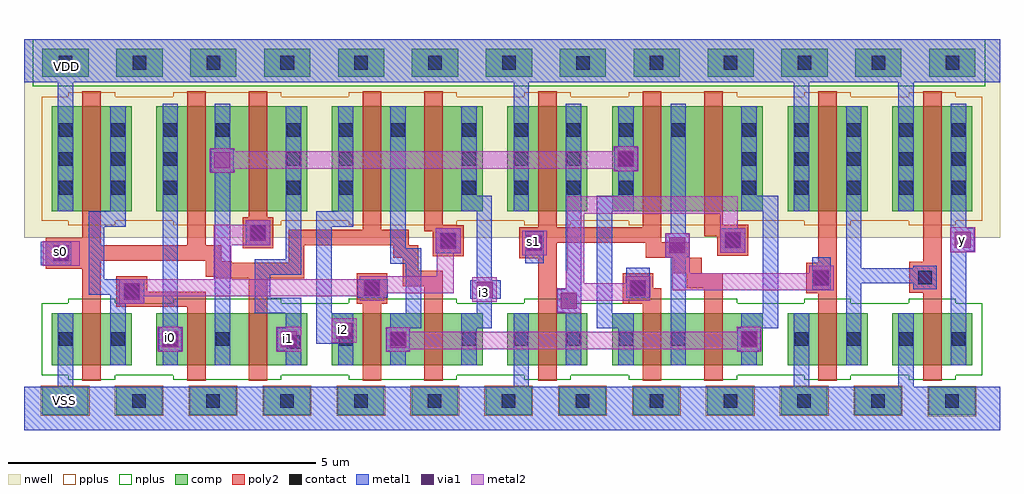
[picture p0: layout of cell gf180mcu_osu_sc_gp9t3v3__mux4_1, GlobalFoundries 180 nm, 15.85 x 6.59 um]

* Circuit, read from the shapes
.subckt gf180mcu_osu_sc_gp9t3v3__mux4_1 VDD VSS i0 i1 i2 i3 s0 s1 y
XM1 n1 s0 VSS VSS nfet_03v3 w=0.85u l=0.3u
XM2 n2 n1 i0 VSS nfet_03v3 w=0.85u l=0.3u
XM3 i1 s0 n2 VSS nfet_03v3 w=0.85u l=0.3u
XM4 n3 n1 i2 VSS nfet_03v3 w=0.85u l=0.3u
XM5 i3 s0 n3 VSS nfet_03v3 w=0.85u l=0.3u
XM6 n4 s1 VSS VSS nfet_03v3 w=0.85u l=0.3u
XM7 n5 n4 n2 VSS nfet_03v3 w=0.85u l=0.3u
XM8 n3 s1 n5 VSS nfet_03v3 w=0.85u l=0.3u
XM9 n6 n5 VSS VSS nfet_03v3 w=0.85u l=0.3u
XM10 y n6 VSS VSS nfet_03v3 w=0.85u l=0.3u
XM11 n1 s0 VDD VDD pfet_03v3 w=1.7u l=0.3u
XM12 n2 s0 i0 VDD pfet_03v3 w=1.7u l=0.3u
XM13 i1 n1 n2 VDD pfet_03v3 w=1.7u l=0.3u
XM14 n3 s0 i2 VDD pfet_03v3 w=1.7u l=0.3u
XM15 i3 n1 n3 VDD pfet_03v3 w=1.7u l=0.3u
XM16 n4 s1 VDD VDD pfet_03v3 w=1.7u l=0.3u
XM17 n5 s1 n2 VDD pfet_03v3 w=1.7u l=0.3u
XM18 n3 n4 n5 VDD pfet_03v3 w=1.7u l=0.3u
XM19 n6 n5 VDD VDD pfet_03v3 w=1.7u l=0.3u
XM20 y n6 VDD VDD pfet_03v3 w=1.7u l=0.3u
.ends

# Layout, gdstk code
import gdstk
lib = gdstk.Library(unit=1e-6, precision=1e-09)
def R(c, l, rs):  # rectangles x0, y0, x1, y1
    for r in rs: c.add(gdstk.rectangle(r[:2], r[2:], *l))
def A(c, l, x, y, w, h, nx, ny, dx, dy):  # array of equal rectangles
    R(c, l, [(x+i*dx, y+j*dy, x+i*dx+w, y+j*dy+h) for i in range(nx) for j in range(ny)])
def P(c, l, *ps):  # polygons
    for p in ps: c.add(gdstk.Polygon(p, *l))
nwell = (21, 0)
comp = (22, 0)
poly2 = (30, 0)
pplus = (31, 0)
nplus = (32, 0)
contact = (33, 0)
metal1 = (34, 0)
via1 = (35, 0)
metal2 = (36, 0)

gf180mcu_osu_sc_gp9t3v3_ = lib.new_cell('gf180mcu_osu_sc_gp9t3v3__mux4_1')
R(gf180mcu_osu_sc_gp9t3v3_, nwell, [(-40.3,-1.235,-24.45,1.995)])
A(gf180mcu_osu_sc_gp9t3v3_, comp, -32.8, 1.385, 0.75, 0.45, 3, 1, 1.2, 0)
R(gf180mcu_osu_sc_gp9t3v3_, comp, [(-25.605,-4.11,-24.855,-3.66), (-25.605,-4.11,-24.855,-3.66), (-25.605,-4.11,-24.855,-3.66), (-25.605,-4.11,-24.855,-3.66), (-25.605,-4.11,-24.855,-3.66), (-40.005,-4.105,-39.255,-3.655), (-40.005,-4.105,-39.255,-3.655), (-38.805,-4.105,-38.055,-3.655), (-38.805,-4.105,-38.055,-3.655), (-37.605,-4.105,-36.855,-3.655), (-37.605,-4.105,-36.855,-3.655), (-37.605,-4.105,-36.855,-3.655), (-37.605,-4.105,-36.855,-3.655), (-36.405,-4.105,-35.655,-3.655), (-36.405,-4.105,-35.655,-3.655), (-36.405,-4.105,-35.655,-3.655), (-36.405,-4.105,-35.655,-3.655), (-35.205,-4.105,-34.455,-3.655), (-35.205,-4.105,-34.455,-3.655), (-35.205,-4.105,-34.455,-3.655), (-35.205,-4.105,-34.455,-3.655), (-34.005,-4.105,-33.255,-3.655), (-34.005,-4.105,-33.255,-3.655), (-34.005,-4.105,-33.255,-3.655), (-34.005,-4.105,-33.255,-3.655), (-32.805,-4.105,-32.055,-3.655), (-32.805,-4.105,-32.055,-3.655), (-32.805,-4.105,-32.055,-3.655), (-32.805,-4.105,-32.055,-3.655), (-31.605,-4.105,-30.855,-3.655), (-31.605,-4.105,-30.855,-3.655), (-31.605,-4.105,-30.855,-3.655), (-31.605,-4.105,-30.855,-3.655), (-31.605,-4.105,-30.855,-3.655), (-30.405,-4.105,-29.655,-3.655), (-30.405,-4.105,-29.655,-3.655), (-30.405,-4.105,-29.655,-3.655), (-30.405,-4.105,-29.655,-3.655), (-30.405,-4.105,-29.655,-3.655), (-29.205,-4.105,-28.455,-3.655), (-29.205,-4.105,-28.455,-3.655), (-29.205,-4.105,-28.455,-3.655), (-29.205,-4.105,-28.455,-3.655), (-29.205,-4.105,-28.455,-3.655), (-28.005,-4.105,-27.255,-3.655), (-28.005,-4.105,-27.255,-3.655), (-28.005,-4.105,-27.255,-3.655), (-28.005,-4.105,-27.255,-3.655), (-28.005,-4.105,-27.255,-3.655), (-26.805,-4.105,-26.055,-3.655), (-26.805,-4.105,-26.055,-3.655), (-26.805,-4.105,-26.055,-3.655), (-26.805,-4.105,-26.055,-3.655), (-26.805,-4.105,-26.055,-3.655), (-39.85,-3.305,-38.55,-2.455), (-38.15,-3.305,-35.7,-2.455), (-35.3,-3.305,-32.85,-2.455), (-32.45,-3.305,-31.15,-2.455), (-30.75,-3.305,-28.3,-2.455), (-27.9,-3.305,-26.6,-2.455), (-26.2,-3.305,-24.9,-2.455), (-39.85,-0.8,-38.55,0.9), (-38.15,-0.8,-35.7,0.9), (-35.3,-0.8,-32.85,0.9), (-32.45,-0.8,-31.15,0.9), (-30.75,-0.8,-28.3,0.9), (-27.9,-0.8,-26.6,0.9), (-26.2,-0.8,-24.9,0.9), (-40,1.385,-39.25,1.835), (-38.8,1.385,-38.05,1.835), (-38.8,1.385,-38.05,1.835), (-37.6,1.385,-36.85,1.835), (-37.6,1.385,-36.85,1.835), (-36.4,1.385,-35.65,1.835), (-36.4,1.385,-35.65,1.835), (-35.2,1.385,-34.45,1.835), (-35.2,1.385,-34.45,1.835), (-34,1.385,-33.25,1.835), (-34,1.385,-33.25,1.835), (-32.8,1.385,-32.05,1.835), (-30.4,1.385,-29.65,1.835), (-29.2,1.385,-28.45,1.835), (-29.2,1.385,-28.45,1.835), (-28,1.385,-27.25,1.835), (-28,1.385,-27.25,1.835), (-26.8,1.385,-26.05,1.835), (-26.8,1.385,-26.05,1.835), (-25.6,1.385,-24.85,1.835), (-25.6,1.385,-24.85,1.835)])
A(gf180mcu_osu_sc_gp9t3v3_, poly2, -38.4, -2.355, 0.25, 0.25, 3, 1, 0.25, 0)
A(gf180mcu_osu_sc_gp9t3v3_, poly2, -36.855, -1.89, 0.25, 0.25, 4, 1, 0.25, 0)
A(gf180mcu_osu_sc_gp9t3v3_, poly2, -36, -1.355, 0.25, 0.25, 7, 1, 0.25, 0)
A(gf180mcu_osu_sc_gp9t3v3_, poly2, -31.65, -1.315, 0.25, 0.25, 6, 1, 0.25, 0)
R(gf180mcu_osu_sc_gp9t3v3_, poly2, [(-39.35,-3.555,-39.05,1.149), (-37.65,-3.555,-37.35,-2.105), (-36.65,-3.555,-36.35,-1.68), (-34.8,-3.555,-34.5,-2.105), (-33.8,-3.555,-33.5,-2.105), (-31.95,-3.555,-31.65,1.149), (-30.25,-3.555,-29.95,-2.105), (-29.25,-3.555,-28.95,-2.105), (-27.4,-3.555,-27.1,-3.535), (-25.7,-3.555,-25.4,-3.535), (-27.4,-3.554,-27.1,1.15), (-25.7,-3.554,-25.4,1.15), (-33.8,-3.055,-33.5,-1.77), (-38.8,-2.355,-38.3,-1.855), (-34.9,-2.305,-34.4,-1.805), (-34.9,-2.305,-34.4,-1.805), (-30.58,-2.305,-30.08,-1.805), (-30.2,-2.305,-29.95,-2.055), (-29.25,-2.145,-29,-1.895), (-29.2,-2.14,-28.95,-1.89), (-27.6,-2.135,-27.1,-1.635), (-25.92,-2.125,-25.42,-1.625), (-29.54,-2.055,-29.29,-1.805), (-29.29,-2.055,-29.04,-1.805), (-29.2,-2.055,-28.95,-1.805), (-34.15,-2.02,-33.9,-1.77), (-33.96,-2.02,-33.71,-1.77), (-37.18,-1.89,-36.93,-1.64), (-37.1,-1.89,-36.85,-1.64), (-36,-1.89,-35.75,-1.64), (-37.35,-1.865,-37.1,-1.615), (-37.18,-1.865,-36.93,-1.615), (-37.35,-1.855,-37.1,-1.605), (-34.15,-1.855,-33.9,-1.605), (-34.15,-1.855,-33.9,-1.605), (-36,-1.85,-35.75,-1.6), (-29.75,-1.805,-29.5,-1.555), (-29.54,-1.805,-29.29,-1.555), (-39.945,-1.735,-39.445,-1.235), (-39.75,-1.735,-39.25,-1.235), (-39.05,-1.605,-37.35,-1.355), (-37.35,-1.605,-37.1,-1.355), (-36,-1.605,-35.75,-1.355), (-34.15,-1.605,-33.9,-1.355), (-32.26,-1.565,-31.76,-1.065), (-34.3,-1.555,-34.05,-1.305), (-30.2,-1.555,-29.95,-1.305), (-30.075,-1.555,-29.825,-1.305), (-29.85,-1.555,-29.6,-1.305), (-29.75,-1.555,-29.5,-1.305), (-30.2,-1.54,-29.95,-1.29), (-33.66,-1.53,-33.16,-1.03), (-33.66,-1.53,-33.16,-1.03), (-33.66,-1.53,-33.16,-1.03), (-29.04,-1.525,-28.54,-1.025), (-29.04,-1.525,-28.54,-1.025), (-29.04,-1.525,-28.54,-1.025), (-37.65,-1.4,-37.35,1.15), (-36.75,-1.4,-36.25,-0.9), (-36.75,-1.4,-36.25,-0.9), (-34.3,-1.355,-34.05,-1.105), (-30.2,-1.315,-29.95,-1.065), (-30.2,-1.23,-29.95,-0.98), (-30.25,-1.225,-30,-0.975), (-29.25,-1.21,-29,-0.96), (-34.8,-1.175,-34.55,-0.925), (-34.75,-1.17,-34.5,-0.92), (-33.8,-1.125,-33.55,-0.875), (-33.8,-1.105,-33.55,-0.855), (-33.75,-1.105,-33.5,-0.855), (-33.75,-1.105,-33.5,-0.855), (-29.25,-1.105,-29,-0.855), (-29.2,-1.105,-28.95,-0.855), (-34.8,-1.05,-34.5,1.15), (-30.25,-1.05,-29.95,1.15), (-36.65,-0.9,-36.35,1.15), (-33.8,-0.9,-33.5,1.15), (-29.25,-0.9,-28.95,1.15), (-39.35,1.13,-39.05,1.15), (-31.95,1.13,-31.65,1.15)])
A(gf180mcu_osu_sc_gp9t3v3_, pplus, -40.025, -4.125, 0.79, 0.49, 12, 1, 1.2, 0)
R(gf180mcu_osu_sc_gp9t3v3_, pplus, [(-25.625,-4.13,-24.835,-3.64), (-39.58,-1.03,-38.82,-0.96), (-39.05,-1.03,-38.82,-0.96), (-37.88,-1.03,-37.65,-0.96), (-37.65,-1.03,-37.42,-0.96), (-37.605,-1.03,-36.845,-0.96), (-36.88,-1.03,-36.12,-0.96), (-36.35,-1.03,-36.12,-0.96), (-35.03,-1.03,-34.8,-0.96), (-34.8,-1.03,-34.57,-0.96), (-34.8,-1.03,-34.57,-0.96), (-34.755,-1.03,-33.995,-0.96), (-34.57,-1.03,-34.34,-0.96), (-34.525,-1.03,-33.765,-0.96), (-34.03,-1.03,-33.27,-0.96), (-34.03,-1.03,-33.27,-0.96), (-34.03,-1.03,-33.27,-0.96), (-32.18,-1.03,-31.42,-0.96), (-31.65,-1.03,-31.42,-0.96), (-30.48,-1.03,-30.25,-0.96), (-30.25,-1.03,-30.02,-0.96), (-30.205,-1.03,-29.445,-0.96), (-29.48,-1.03,-28.72,-0.96), (-27.63,-1.03,-26.87,-0.96), (-27.1,-1.03,-26.87,-0.96), (-25.93,-1.03,-25.17,-0.96), (-25.4,-1.03,-25.17,-0.96), (-40.01,-0.96,-24.74,1.06), (-40.01,0.9,-39.85,1.06), (-39.58,1.06,-38.82,1.13), (-39.05,1.06,-38.82,1.13), (-37.88,1.06,-37.65,1.13), (-37.65,1.06,-37.42,1.13), (-37.65,1.06,-37.42,1.13), (-37.605,1.06,-36.845,1.13), (-37.42,1.06,-37.19,1.13), (-37.375,1.06,-36.615,1.13), (-36.88,1.06,-36.12,1.13), (-36.88,1.06,-36.12,1.13), (-36.88,1.06,-36.12,1.13), (-36.35,1.06,-36.12,1.13), (-36.35,1.06,-36.12,1.13), (-36.35,1.06,-36.12,1.13), (-35.03,1.06,-34.8,1.13), (-34.8,1.06,-34.57,1.13), (-34.755,1.06,-33.995,1.13), (-34.03,1.06,-33.27,1.13), (-34.03,1.06,-33.27,1.13), (-33.5,1.06,-33.27,1.13), (-33.5,1.06,-33.27,1.13), (-32.18,1.06,-31.42,1.13), (-31.65,1.06,-31.42,1.13), (-30.48,1.06,-30.25,1.13), (-30.25,1.06,-30.02,1.13), (-30.205,1.06,-29.445,1.13), (-29.48,1.06,-28.72,1.13), (-28.95,1.06,-28.72,1.13), (-27.63,1.06,-26.87,1.13), (-27.1,1.06,-26.87,1.13), (-25.93,1.06,-25.17,1.13), (-25.4,1.06,-25.17,1.13)])
R(gf180mcu_osu_sc_gp9t3v3_, nplus, [(-39.58,-3.535,-39.35,-3.325), (-39.365,-3.535,-39.135,-3.325), (-39.28,-3.535,-39.05,-3.325), (-39.05,-3.535,-38.82,-3.325), (-37.88,-3.535,-37.65,-3.325), (-37.665,-3.535,-37.435,-3.325), (-37.58,-3.535,-37.35,-3.325), (-37.355,-3.535,-37.125,-3.325), (-37.35,-3.535,-37.12,-3.325), (-37.14,-3.535,-36.91,-3.325), (-37.055,-3.535,-36.825,-3.325), (-36.88,-3.535,-36.65,-3.325), (-36.825,-3.535,-36.595,-3.325), (-36.665,-3.535,-36.435,-3.325), (-36.58,-3.535,-36.35,-3.325), (-36.35,-3.535,-36.12,-3.325), (-35.03,-3.535,-34.8,-3.325), (-34.815,-3.535,-34.585,-3.325), (-34.73,-3.535,-34.5,-3.325), (-34.5,-3.535,-34.27,-3.325), (-34.47,-3.535,-34.24,-3.325), (-34.255,-3.535,-34.025,-3.325), (-34.17,-3.535,-33.94,-3.325), (-34.03,-3.535,-33.8,-3.325), (-33.94,-3.535,-33.71,-3.325), (-33.815,-3.535,-33.585,-3.325), (-33.73,-3.535,-33.5,-3.325), (-33.5,-3.535,-33.27,-3.325), (-32.18,-3.535,-31.95,-3.325), (-31.965,-3.535,-31.735,-3.325), (-31.88,-3.535,-31.65,-3.325), (-31.65,-3.535,-31.42,-3.325), (-30.48,-3.535,-30.25,-3.325), (-30.265,-3.535,-30.035,-3.325), (-30.18,-3.535,-29.95,-3.325), (-29.95,-3.535,-29.72,-3.325), (-29.875,-3.535,-29.645,-3.325), (-29.66,-3.535,-29.43,-3.325), (-29.575,-3.535,-29.345,-3.325), (-29.48,-3.535,-29.25,-3.325), (-29.345,-3.535,-29.115,-3.325), (-29.265,-3.535,-29.035,-3.325), (-29.18,-3.535,-28.95,-3.325), (-28.95,-3.535,-28.72,-3.325), (-27.63,-3.535,-27.4,-3.325), (-27.415,-3.535,-27.185,-3.325), (-27.33,-3.535,-27.1,-3.325), (-27.1,-3.535,-26.87,-3.325), (-25.93,-3.535,-25.7,-3.325), (-25.715,-3.535,-25.485,-3.325), (-25.63,-3.535,-25.4,-3.325), (-25.4,-3.535,-25.17,-3.325), (-40.01,-3.465,-24.74,-2.295), (-39.58,-2.435,-39.35,-2.225), (-39.365,-2.435,-39.135,-2.225), (-39.28,-2.435,-39.05,-2.225), (-39.05,-2.435,-38.82,-2.225), (-37.88,-2.435,-37.65,-2.225), (-37.88,-2.435,-37.65,-2.225), (-37.665,-2.435,-37.435,-2.225), (-37.665,-2.435,-37.435,-2.225), (-37.58,-2.435,-37.35,-2.225), (-37.58,-2.435,-37.35,-2.225), (-37.355,-2.435,-37.125,-2.225), (-37.35,-2.435,-37.12,-2.225), (-37.35,-2.435,-37.12,-2.225), (-37.14,-2.435,-36.91,-2.225), (-37.055,-2.435,-36.825,-2.225), (-36.88,-2.435,-36.65,-2.225), (-36.88,-2.435,-36.65,-2.225), (-36.825,-2.435,-36.595,-2.225), (-36.665,-2.435,-36.435,-2.225), (-36.665,-2.435,-36.435,-2.225), (-36.58,-2.435,-36.35,-2.225), (-36.58,-2.435,-36.35,-2.225), (-36.35,-2.435,-36.12,-2.225), (-36.35,-2.435,-36.12,-2.225), (-35.03,-2.435,-34.8,-2.225), (-34.815,-2.435,-34.585,-2.225), (-34.73,-2.435,-34.5,-2.225), (-34.585,-2.435,-34.355,-2.225), (-34.5,-2.435,-34.27,-2.225), (-34.37,-2.435,-34.14,-2.225), (-34.285,-2.435,-34.055,-2.225), (-34.055,-2.435,-33.825,-2.225), (-34.03,-2.435,-33.8,-2.225), (-33.815,-2.435,-33.585,-2.225), (-33.73,-2.435,-33.5,-2.225), (-33.5,-2.435,-33.27,-2.225), (-32.18,-2.435,-31.95,-2.225), (-31.965,-2.435,-31.735,-2.225), (-31.88,-2.435,-31.65,-2.225), (-31.65,-2.435,-31.42,-2.225), (-30.48,-2.435,-30.25,-2.225), (-30.265,-2.435,-30.035,-2.225), (-30.18,-2.435,-29.95,-2.225), (-30.04,-2.435,-29.81,-2.225), (-29.95,-2.435,-29.72,-2.225), (-29.825,-2.435,-29.595,-2.225), (-29.74,-2.435,-29.51,-2.225), (-29.51,-2.435,-29.28,-2.225), (-29.48,-2.435,-29.25,-2.225), (-29.265,-2.435,-29.035,-2.225), (-29.18,-2.435,-28.95,-2.225), (-28.95,-2.435,-28.72,-2.225), (-27.63,-2.435,-27.4,-2.225), (-27.415,-2.435,-27.185,-2.225), (-27.33,-2.435,-27.1,-2.225), (-27.1,-2.435,-26.87,-2.225), (-25.93,-2.435,-25.7,-2.225), (-25.715,-2.435,-25.485,-2.225), (-25.63,-2.435,-25.4,-2.225), (-25.4,-2.435,-25.17,-2.225), (-40.16,1.225,-24.69,1.995)])
A(gf180mcu_osu_sc_gp9t3v3_, contact, -39.74, -3.99, 0.22, 0.22, 12, 1, 1.2, 0)
A(gf180mcu_osu_sc_gp9t3v3_, contact, -39.735, -2.99, 0.22, 0.22, 4, 2, 0.85, 3.4)
A(gf180mcu_osu_sc_gp9t3v3_, contact, -33.185, -2.99, 0.22, 0.22, 5, 2, 0.85, 3.4)
A(gf180mcu_osu_sc_gp9t3v3_, contact, -28.635, -2.99, 0.22, 0.22, 5, 2, 0.85, 2.46)
A(gf180mcu_osu_sc_gp9t3v3_, contact, -39.735, -0.53, 0.22, 0.22, 3, 2, 0.85, 0.47)
A(gf180mcu_osu_sc_gp9t3v3_, contact, -33.185, -0.53, 0.22, 0.22, 4, 2, 0.85, 0.47)
A(gf180mcu_osu_sc_gp9t3v3_, contact, -28.635, -0.06, 0.22, 0.22, 5, 2, 0.85, 0.47)
A(gf180mcu_osu_sc_gp9t3v3_, contact, -36.035, 0.41, 0.22, 0.22, 3, 1, 0.85, 0)
R(gf180mcu_osu_sc_gp9t3v3_, contact, [(-25.34,-3.995,-25.12,-3.775), (-36.035,-3.035,-35.815,-2.815), (-35.185,-2.99,-34.965,-2.77), (-34.335,-2.99,-34.115,-2.77), (-34.335,-2.99,-34.115,-2.77), (-38.66,-2.215,-38.44,-1.995), (-34.76,-2.165,-34.54,-1.945), (-34.76,-2.165,-34.54,-1.945), (-30.44,-2.165,-30.22,-1.945), (-27.46,-1.995,-27.24,-1.775), (-25.78,-1.985,-25.56,-1.765), (-39.805,-1.595,-39.585,-1.375), (-32.12,-1.425,-31.9,-1.205), (-33.52,-1.39,-33.3,-1.17), (-33.52,-1.39,-33.3,-1.17), (-33.52,-1.39,-33.3,-1.17), (-28.9,-1.385,-28.68,-1.165), (-28.9,-1.385,-28.68,-1.165), (-28.9,-1.385,-28.68,-1.165), (-36.61,-1.26,-36.39,-1.04), (-36.61,-1.26,-36.39,-1.04), (-36.035,-0.53,-35.815,-0.31), (-35.185,-0.53,-34.965,-0.31), (-36.035,-0.06,-35.815,0.16), (-35.185,-0.06,-34.965,0.16), (-30.635,-0.06,-30.415,0.16), (-31.335,1.495,-31.115,1.715), (-31.335,1.495,-31.115,1.715), (-39.735,1.5,-39.515,1.72), (-38.535,1.5,-38.315,1.72), (-38.535,1.5,-38.315,1.72), (-37.335,1.5,-37.115,1.72), (-37.335,1.5,-37.115,1.72), (-36.135,1.5,-35.915,1.72), (-36.135,1.5,-35.915,1.72), (-34.935,1.5,-34.715,1.72), (-34.935,1.5,-34.715,1.72), (-33.735,1.5,-33.515,1.72), (-33.735,1.5,-33.515,1.72), (-32.535,1.5,-32.315,1.72), (-32.535,1.5,-32.315,1.72), (-30.135,1.5,-29.915,1.72), (-30.135,1.5,-29.915,1.72), (-28.935,1.5,-28.715,1.72), (-28.935,1.5,-28.715,1.72), (-27.735,1.5,-27.515,1.72), (-27.735,1.5,-27.515,1.72), (-26.535,1.5,-26.315,1.72), (-26.535,1.5,-26.315,1.72), (-25.335,1.5,-25.115,1.72), (-25.335,1.5,-25.115,1.72)])
P(gf180mcu_osu_sc_gp9t3v3_, contact, [(-39.79,2.24),(-39.79,2.24),(-39.79,2.24),(-39.79,2.24)])
A(gf180mcu_osu_sc_gp9t3v3_, metal1, -36.05, -3.305, 0.25, 0.85, 3, 1, 0.85, 0)
A(gf180mcu_osu_sc_gp9t3v3_, metal1, -35.55, -2.955, 0.25, 0.25, 1, 3, 0, 0.25)
A(gf180mcu_osu_sc_gp9t3v3_, metal1, -34.1, -2.705, 0.25, 0.25, 1, 3, 0, 0.25)
A(gf180mcu_osu_sc_gp9t3v3_, metal1, -31, -2.705, 0.25, 0.25, 1, 7, 0, 0.25)
A(gf180mcu_osu_sc_gp9t3v3_, metal1, -28.3, -2.505, 0.25, 0.25, 1, 6, 0, 0.25)
A(gf180mcu_osu_sc_gp9t3v3_, metal1, -36.55, -2.455, 0.25, 0.25, 3, 2, 0.25, 0.625)
A(gf180mcu_osu_sc_gp9t3v3_, metal1, -39.25, -2.005, 0.25, 0.25, 1, 4, 0, 0.25)
A(gf180mcu_osu_sc_gp9t3v3_, metal1, -32.95, -2.005, 0.25, 0.25, 1, 4, 0, 0.25)
A(gf180mcu_osu_sc_gp9t3v3_, metal1, -26.525, -1.975, 0.25, 0.25, 3, 1, 0.25, 0)
A(gf180mcu_osu_sc_gp9t3v3_, metal1, -35.55, -1.955, 0.25, 0.25, 1, 4, 0, 0.25)
A(gf180mcu_osu_sc_gp9t3v3_, metal1, -36.05, -0.8, 0.25, 1.7, 3, 1, 0.85, 0)
R(gf180mcu_osu_sc_gp9t3v3_, metal1, [(-40.3,-4.355,-24.45,-3.655), (-39.75,-3.655,-39.5,-2.455), (-32.35,-3.655,-32.1,-2.455), (-27.8,-3.655,-27.55,-2.455), (-26.1,-3.655,-25.85,-2.455), (-38.9,-3.305,-38.65,-2.455), (-38.05,-3.305,-37.8,0.945), (-38.05,-3.305,-37.8,-2.455), (-37.2,-3.305,-36.95,0.945), (-33.2,-3.305,-32.95,-2.455), (-31.5,-3.305,-31.25,0.945), (-30.65,-3.305,-30.4,-2.455), (-29.8,-3.305,-29.55,0.945), (-28.65,-3.305,-28.4,-2.455), (-26.95,-3.305,-26.7,-2.455), (-25.25,-3.305,-25,0.945), (-36.05,-3.08,-35.8,-2.83), (-34.415,-3.075,-34.035,-2.695), (-38.115,-3.07,-37.735,-2.69), (-36.19,-3.07,-35.81,-2.69), (-28.715,-3.07,-28.335,-2.69), (-34.375,-3.035,-34.075,-2.735), (-35.3,-2.955,-35.05,-2.705), (-35.3,-2.955,-35.05,-2.705), (-35.25,-2.89,-34.95,-2.59), (-34.325,-2.755,-34.075,-2.505), (-28.625,-2.755,-28.375,-2.505), (-35.425,-2.705,-35.175,-2.455), (-32.95,-2.705,-32.7,-2.455), (-30.9,-2.705,-30.65,-2.455), (-28.4,-2.705,-28.15,-2.455), (-28.3,-2.705,-28.05,-2.455), (-28.3,-2.7,-28.05,-2.45), (-36.05,-2.635,-35.8,-2.385), (-32.95,-2.495,-32.7,-2.245), (-38.9,-2.455,-38.65,-2.205), (-32.95,-2.455,-32.7,-2.205), (-26.95,-2.455,-26.7,-0.755), (-31.64,-2.445,-31.26,-2.065), (-38.75,-2.305,-38.35,-1.905), (-33.05,-2.225,-32.56,-1.925), (-32.97,-2.225,-32.67,-1.925), (-32.97,-2.225,-32.67,-1.925), (-35.55,-2.215,-35.3,-1.965), (-30.52,-2.21,-30.14,-1.72), (-38.9,-2.205,-38.65,-1.955), (-36.55,-2.205,-36.3,-1.955), (-34.88,-2.205,-34.39,-1.905), (-34.8,-2.205,-34.5,-1.905), (-34.8,-2.205,-34.5,-1.905), (-30.48,-2.205,-30.18,-1.905), (-35.55,-2.2,-35.3,-1.95), (-32.95,-2.2,-32.7,-1.95), (-39.25,-2.155,-39,-1.905), (-39.15,-2.155,-38.9,-1.905), (-38.9,-2.155,-38.65,-1.905), (-27.5,-2.075,-27.2,-2.015), (-25.86,-2.065,-25.48,-1.685), (-27.5,-2.055,-27.2,-2.035), (-27.5,-2.035,-27.2,-1.735), (-27.5,-2.032,-27.2,-1.55), (-25.54,-2.025,-25.48,-1.725), (-25.52,-2.025,-25.5,-1.725), (-34.1,-2.02,-33.85,-1.77), (-26.76,-1.975,-26.51,-1.725), (-36.55,-1.955,-36.3,-1.705), (-34.1,-1.805,-33.85,-1.555), (-36.05,-1.785,-35.8,-1.535), (-40.025,-1.675,-39.535,-1.295), (-34.35,-1.655,-34.1,-1.405), (-34.1,-1.655,-33.85,-1.405), (-32.16,-1.645,-31.86,-1.163), (-39.885,-1.635,-39.865,-1.335), (-39.865,-1.635,-39.845,-1.335), (-39.845,-1.635,-39.545,-1.335), (-36.05,-1.555,-35.8,-1.305), (-29.88,-1.545,-29.5,-1.165), (-34.35,-1.505,-34.1,-1.255), (-33.61,-1.48,-33.21,-1.08), (-28.99,-1.475,-28.59,-1.075), (-32.16,-1.465,-31.86,-1.165), (-36.05,-1.455,-35.8,-1.205), (-25.245,-1.455,-24.865,-1.075), (-36.7,-1.35,-36.3,-0.95), (-36.05,-1.255,-35.8,-1.005), (-34.35,-1.255,-34.1,-1.005), (-32.16,-1.205,-31.86,-1.145), (-32.16,-1.185,-31.86,-1.125), (-32.16,-1.165,-31.86,-1.145), (-39.25,-1.05,-39,-0.8), (-39,-1.05,-38.75,-0.8), (-38.9,-1.05,-38.65,-0.8), (-36.05,-1.05,-35.8,-0.8), (-35.55,-1.05,-35.3,-0.8), (-35.3,-1.05,-35.05,-0.8), (-35.2,-1.05,-34.95,-0.8), (-34.35,-1.05,-34.1,-0.8), (-32.95,-1.05,-32.7,-0.8), (-28.3,-1.05,-28.05,-0.8), (-31,-1,-30.75,-0.75), (-39.75,-0.8,-39.5,1.25), (-38.9,-0.8,-38.65,0.9), (-37.2,-0.8,-36.95,-0.6), (-34.35,-0.8,-34.1,-0.6), (-33.2,-0.8,-32.95,0.9), (-32.95,-0.8,-32.7,-0.55), (-32.35,-0.8,-32.1,1.25), (-31,-0.8,-30.75,-0.55), (-30.775,-0.8,-30.525,-0.55), (-30.65,-0.8,-30.4,0.9), (-29.8,-0.8,-29.55,-0.6), (-28.65,-0.8,-28.4,0.9), (-28.4,-0.8,-28.15,-0.55), (-28.3,-0.8,-28.05,-0.55), (-27.8,-0.8,-27.55,1.25), (-26.95,-0.8,-26.7,0.9), (-26.1,-0.8,-25.85,1.25), (-37.27,-0.165,-36.89,0.215), (-30.715,-0.14,-30.335,0.24), (-32.35,1.095,-32.1,1.345), (-39.75,1.115,-39.5,1.365), (-27.8,1.145,-27.55,1.395), (-26.1,1.15,-25.85,1.4), (-40.3,1.295,-24.45,1.995)])
R(gf180mcu_osu_sc_gp9t3v3_, via1, [(-34.355,-3.015,-34.095,-2.755), (-34.355,-3.015,-34.095,-2.755), (-38.055,-3.01,-37.795,-2.75), (-36.13,-3.01,-35.87,-2.75), (-28.655,-3.01,-28.395,-2.75), (-35.23,-2.87,-34.97,-2.61), (-31.58,-2.385,-31.32,-2.125), (-38.68,-2.235,-38.42,-1.975), (-32.95,-2.205,-32.69,-1.945), (-32.95,-2.205,-32.69,-1.945), (-34.78,-2.185,-34.52,-1.925), (-34.78,-2.185,-34.52,-1.925), (-30.46,-2.185,-30.2,-1.925), (-27.48,-2.015,-27.22,-1.755), (-39.825,-1.615,-39.565,-1.355), (-29.82,-1.485,-29.56,-1.225), (-32.14,-1.445,-31.88,-1.185), (-33.54,-1.41,-33.28,-1.15), (-28.92,-1.405,-28.66,-1.145), (-25.185,-1.395,-24.925,-1.135), (-36.63,-1.28,-36.37,-1.02), (-37.21,-0.105,-36.95,0.155), (-30.655,-0.08,-30.395,0.18)])
A(gf180mcu_osu_sc_gp9t3v3_, metal2, -34.13, -3.04, 0.28, 0.28, 7, 1, 0.28, 0)
A(gf180mcu_osu_sc_gp9t3v3_, metal2, -32.19, -3.04, 0.28, 0.28, 3, 1, 0.28, 0)
A(gf180mcu_osu_sc_gp9t3v3_, metal2, -31.37, -3.04, 0.28, 0.28, 9, 1, 0.28, 0)
A(gf180mcu_osu_sc_gp9t3v3_, metal2, -31.47, -2.255, 0.28, 0.28, 3, 1, 0.28, 0)
A(gf180mcu_osu_sc_gp9t3v3_, metal2, -31.3, -2.255, 0.25, 0.25, 3, 1, 0.25, 0)
A(gf180mcu_osu_sc_gp9t3v3_, metal2, -38.35, -2.155, 0.25, 0.25, 5, 1, 0.25, 0)
A(gf180mcu_osu_sc_gp9t3v3_, metal2, -37.2, -2.155, 0.25, 0.25, 5, 1, 0.25, 0)
A(gf180mcu_osu_sc_gp9t3v3_, metal2, -35.705, -2.155, 0.25, 0.25, 3, 1, 0.23, 0)
A(gf180mcu_osu_sc_gp9t3v3_, metal2, -34.455, -2.135, 0.28, 0.28, 4, 1, 0.28, 0)
A(gf180mcu_osu_sc_gp9t3v3_, metal2, -28.315, -2.085, 0.28, 0.28, 3, 1, 0.275, 0)
A(gf180mcu_osu_sc_gp9t3v3_, metal2, -29.74, -2.055, 0.25, 0.25, 8, 1, 0.25, 0)
A(gf180mcu_osu_sc_gp9t3v3_, metal2, -31.45, -2.015, 0.25, 0.25, 1, 5, 0, 0.25)
A(gf180mcu_osu_sc_gp9t3v3_, metal2, -33.6, -1.98, 0.25, 0.25, 1, 3, 0, 0.245)
A(gf180mcu_osu_sc_gp9t3v3_, metal2, -37.215, -1.92, 0.28, 0.28, 1, 3, 0, 0.28)
A(gf180mcu_osu_sc_gp9t3v3_, metal2, -31.48, -1.92, 0.28, 0.28, 1, 4, 0, 0.28)
A(gf180mcu_osu_sc_gp9t3v3_, metal2, -31.48, -0.84, 0.28, 0.28, 7, 1, 0.28, 0)
A(gf180mcu_osu_sc_gp9t3v3_, metal2, -31.45, -0.81, 0.25, 0.25, 8, 1, 0.25, 0)
R(gf180mcu_osu_sc_gp9t3v3_, metal2, [(-34.425,-3.085,-34.025,-2.685), (-38.125,-3.08,-37.725,-2.68), (-36.2,-3.08,-35.8,-2.68), (-28.725,-3.08,-28.325,-2.68), (-28.955,-3.04,-28.675,-2.76), (-34.35,-3.01,-28.4,-2.76), (-35.3,-2.94,-34.9,-2.54), (-31.65,-2.455,-31.25,-2.055), (-38.75,-2.305,-38.35,-1.905), (-33.02,-2.275,-32.62,-1.875), (-34.85,-2.255,-34.45,-1.855), (-30.78,-2.255,-30.5,-1.975), (-30.53,-2.255,-30.13,-1.855), (-38.39,-2.185,-34.85,-1.905), (-35.035,-2.155,-34.785,-1.905), (-33.6,-2.135,-33.32,-1.855), (-34.445,-2.105,-34.195,-1.855), (-34.265,-2.105,-34.015,-1.855), (-34.04,-2.105,-33.79,-1.855), (-33.83,-2.105,-33.58,-1.855), (-33.6,-2.105,-33.35,-1.855), (-29.77,-2.085,-29.49,-1.805), (-29.55,-2.085,-29.27,-1.805), (-29.29,-2.085,-29.01,-1.805), (-29.07,-2.085,-28.79,-1.805), (-28.84,-2.085,-28.56,-1.805), (-28.585,-2.085,-28.305,-1.805), (-27.55,-2.085,-27.15,-1.685), (-31.5,-2.055,-31.25,-1.805), (-27.78,-2.055,-27.53,-1.805), (-31.5,-2.015,-31.25,-1.765), (-29.77,-1.985,-29.49,-1.705), (-33.6,-1.855,-33.32,-1.575), (-29.74,-1.805,-29.49,-1.555), (-29.77,-1.71,-29.49,-1.43), (-33.6,-1.695,-33.32,-1.415), (-39.995,-1.685,-39.395,-1.285), (-37.2,-1.655,-36.95,-1.405), (-29.89,-1.555,-29.49,-1.155), (-32.21,-1.515,-31.81,-1.115), (-33.61,-1.48,-33.21,-1.08), (-28.99,-1.475,-28.59,-1.075), (-25.255,-1.465,-24.855,-1.065), (-37.2,-1.405,-36.95,-1.155), (-36.935,-1.35,-36.655,-1.07), (-36.7,-1.35,-36.3,-0.95), (-37.215,-1.305,-36.935,-1.025), (-37.2,-1.305,-36.95,-1.055), (-36.95,-1.305,-36.7,-1.055), (-36.935,-1.305,-36.655,-1.025), (-28.99,-1.14,-28.71,-0.86), (-28.99,-1.055,-28.74,-0.805), (-28.99,-0.905,-28.71,-0.625), (-29.525,-0.84,-29.245,-0.56), (-29.245,-0.84,-28.965,-0.56), (-29.02,-0.84,-28.74,-0.56), (-28.99,-0.84,-28.71,-0.56), (-29.445,-0.81,-29.195,-0.56), (-29.195,-0.81,-28.945,-0.56), (-28.99,-0.81,-28.74,-0.56), (-37.28,-0.175,-36.88,0.225), (-30.725,-0.15,-30.325,0.25), (-37.2,-0.11,-30.4,0.17)])
gf180mcu_osu_sc_gp9t3v3_.add(gdstk.Label('VSS', (-39.645,-3.87), layer=34, texttype=10))
gf180mcu_osu_sc_gp9t3v3_.add(gdstk.Label('VDD', (-39.61,1.545), layer=34, texttype=10))
gf180mcu_osu_sc_gp9t3v3_.add(gdstk.Label('y', (-25.065,-1.255), layer=36, texttype=10))
gf180mcu_osu_sc_gp9t3v3_.add(gdstk.Label('i1', (-36,-2.865), layer=36, texttype=10))
gf180mcu_osu_sc_gp9t3v3_.add(gdstk.Label('i0', (-37.925,-2.86), layer=36, texttype=10))
gf180mcu_osu_sc_gp9t3v3_.add(gdstk.Label('i2', (-35.115,-2.725), layer=36, texttype=10))
gf180mcu_osu_sc_gp9t3v3_.add(gdstk.Label('i3', (-32.825,-2.115), layer=36, texttype=10))
gf180mcu_osu_sc_gp9t3v3_.add(gdstk.Label('s1', (-32.02,-1.3), layer=36, texttype=10))
gf180mcu_osu_sc_gp9t3v3_.add(gdstk.Label('s0', (-39.705,-1.455), layer=36, texttype=10))

lib.write_gds('gf180mcu_osu_sc_gp9t3v3__mux4_1.gds')
